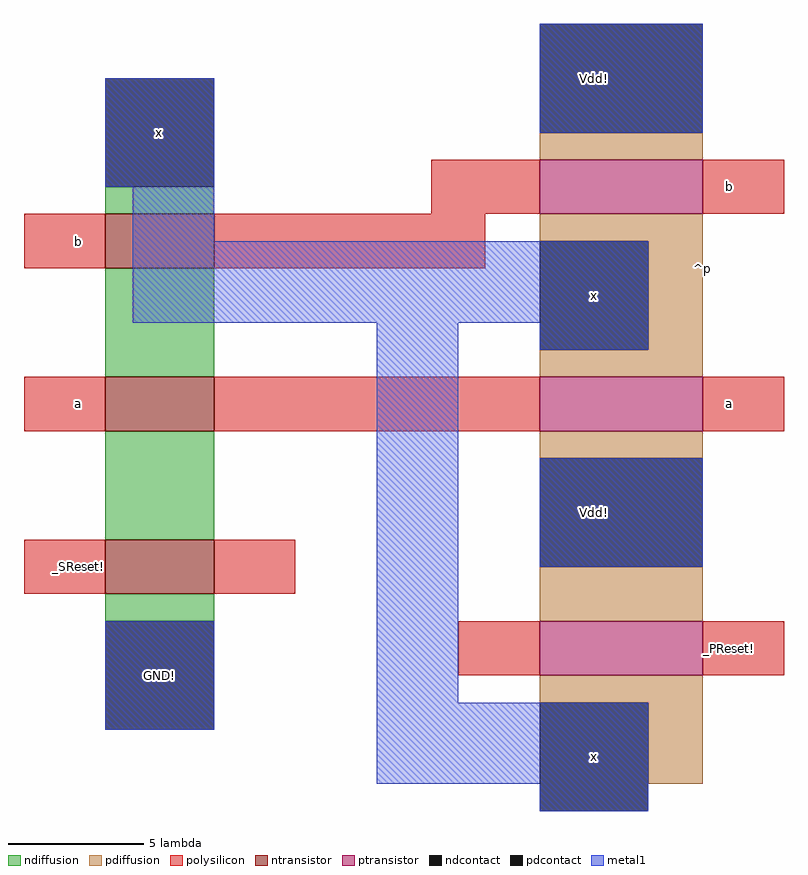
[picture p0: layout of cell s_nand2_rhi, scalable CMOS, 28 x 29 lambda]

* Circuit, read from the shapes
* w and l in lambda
.subckt s_nand2_rhi GND! Vdd! _PReset! _SReset! a b x
M1 n1 _SReset! GND! VSUBS nfet w=4 l=2
M2 n2 a n1 VSUBS nfet w=4 l=2
M3 x b n2 VSUBS nfet w=4 l=2
M4 Vdd! _PReset! x NWELL pfet w=6 l=2
M5 x a Vdd! NWELL pfet w=6 l=2
M6 Vdd! b x NWELL pfet w=6 l=2
.ends

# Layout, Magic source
magic
tech scmos
<< ndiffusion >>
rect 65 92 69 93
rect 65 86 69 90
rect 65 80 69 84
rect 65 77 69 78
<< pdiffusion >>
rect 81 94 87 95
rect 81 91 87 92
rect 85 87 87 91
rect 81 86 87 87
rect 81 83 87 84
rect 81 77 87 79
rect 81 74 87 75
rect 85 71 87 74
<< ntransistor >>
rect 65 90 69 92
rect 65 84 69 86
rect 65 78 69 80
<< ptransistor >>
rect 81 92 87 94
rect 81 84 87 86
rect 81 75 87 77
<< polysilicon >>
rect 77 92 81 94
rect 87 92 90 94
rect 62 90 65 92
rect 69 90 79 92
rect 62 84 65 86
rect 69 84 81 86
rect 87 84 90 86
rect 62 78 65 80
rect 69 78 72 80
rect 78 75 81 77
rect 87 75 90 77
<< ndcontact >>
rect 65 93 69 97
rect 65 73 69 77
<< pdcontact >>
rect 81 95 87 99
rect 81 87 85 91
rect 81 79 87 83
rect 81 70 85 74
<< metal1 >>
rect 65 93 69 97
rect 81 95 87 99
rect 66 91 69 93
rect 66 88 85 91
rect 65 73 69 77
rect 75 74 78 88
rect 81 87 85 88
rect 81 79 87 83
rect 75 71 85 74
rect 81 70 85 71
<< labels >>
rlabel polysilicon 64 85 64 85 3 a
rlabel polysilicon 64 91 64 91 3 b
rlabel space 62 73 65 97 7 ^n
rlabel space 84 80 90 100 3 ^p
rlabel polysilicon 88 93 88 93 7 b
rlabel polysilicon 88 85 88 85 7 a
rlabel polysilicon 88 76 88 76 1 _PReset!
rlabel polysilicon 64 79 64 79 3 _SReset!
rlabel ndcontact 67 95 67 95 4 x
rlabel ndcontact 67 75 67 75 2 GND!
rlabel pdcontact 83 89 83 89 1 x
rlabel pdcontact 83 81 83 81 8 Vdd!
rlabel pdcontact 83 97 83 97 6 Vdd!
rlabel pdcontact 83 72 83 72 1 x
<< end >>
